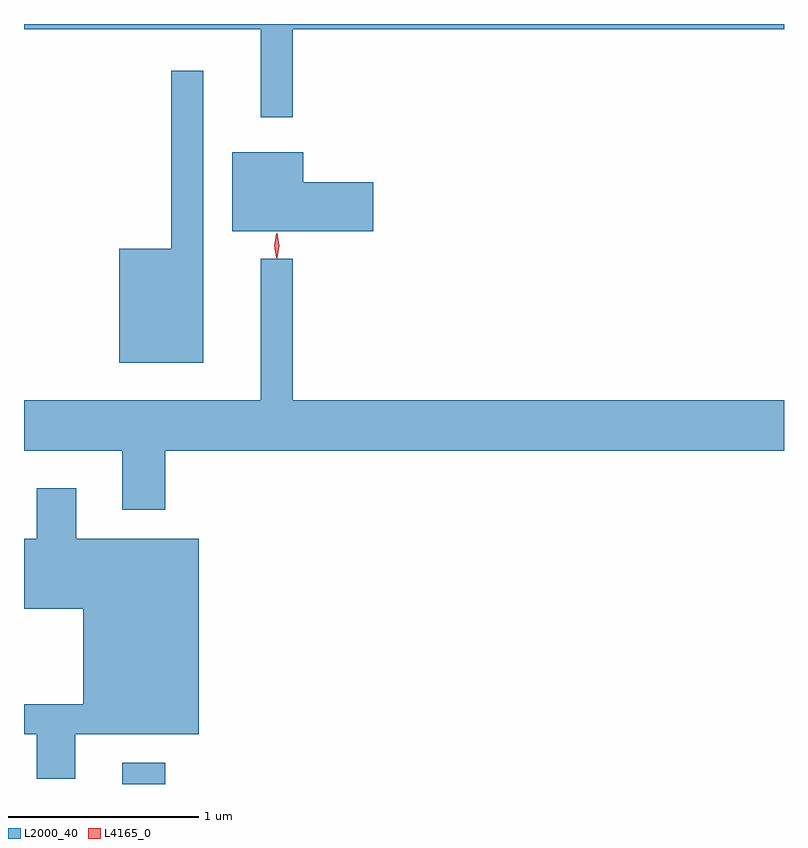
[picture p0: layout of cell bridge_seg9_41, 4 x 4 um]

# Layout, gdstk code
import gdstk
lib = gdstk.Library(unit=1e-6, precision=1e-09)
def R(c, l, rs):  # rectangles x0, y0, x1, y1
    for r in rs: c.add(gdstk.rectangle(r[:2], r[2:], *l))
def P(c, l, *ps):  # polygons
    for p in ps: c.add(gdstk.Polygon(p, *l))
L2000_40 = (2000, 40)
L4165_0 = (4165, 0)

bridge_seg9_41 = lib.new_cell('bridge_seg9_41')
R(bridge_seg9_41, L2000_40, [(1506.211,2010.043,1506.439,2010.154)])
P(bridge_seg9_41, L2000_40, [(1507.109,2014.016),(1509.695,2014.016),(1509.695,2014.043),(1505.695,2014.043),(1505.695,2014.016),(1506.941,2014.016),(1506.941,2013.553),(1507.109,2013.553)],
  [(1506.639,2013.798),(1506.471,2013.798),(1506.471,2012.859),(1506.196,2012.859),(1506.196,2012.261),(1506.639,2012.261)],
  [(1507.534,2013.209),(1507.164,2013.209),(1507.164,2013.369),(1506.791,2013.369),(1506.791,2012.951),(1507.534,2012.951)],
  [(1506.439,2011.796),(1509.695,2011.796),(1509.695,2012.064),(1507.109,2012.064),(1507.109,2012.808),(1506.941,2012.808),(1506.941,2012.064),(1505.695,2012.064),(1505.695,2011.796),(1506.211,2011.796),(1506.211,2011.486),(1506.439,2011.486)],
  [(1505.964,2010.306),(1506.614,2010.306),(1506.614,2011.334),(1505.969,2011.334),(1505.969,2011.599),(1505.761,2011.599),(1505.761,2011.334),(1505.695,2011.334),(1505.695,2010.966),(1506.006,2010.966),(1506.006,2010.464),(1505.695,2010.464),(1505.695,2010.306),(1505.761,2010.306),(1505.761,2010.071),(1505.964,2010.071)])
P(bridge_seg9_41, L4165_0, [(1507.023,2012.813),(1507.023,2012.813),(1507.013,2012.876),(1507.023,2012.939),(1507.023,2012.939),(1507.024,2012.939),(1507.033,2012.876),(1507.024,2012.813)],
  [(1507.027,2012.81),(1507.018,2012.877),(1507.027,2012.945),(1507.028,2012.945),(1507.028,2012.945),(1507.038,2012.877),(1507.028,2012.81),(1507.028,2012.81)])

lib.write_gds('bridge_seg9_41.gds')
